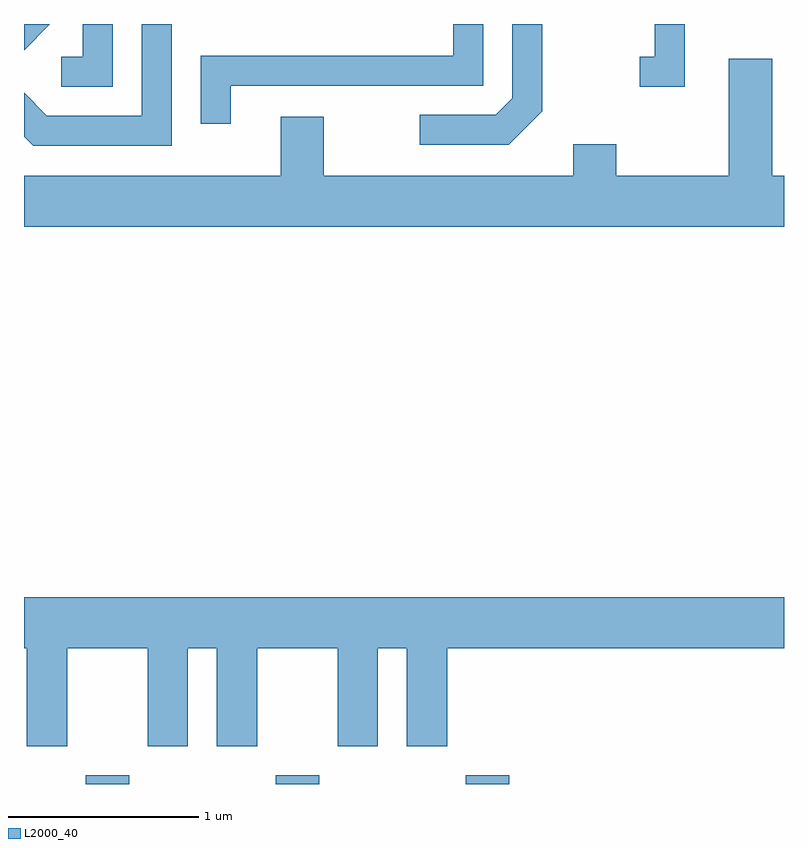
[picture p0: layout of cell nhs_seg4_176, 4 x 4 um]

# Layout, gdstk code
import gdstk
lib = gdstk.Library(unit=1e-6, precision=1e-09)
def R(c, l, rs):  # rectangles x0, y0, x1, y1
    for r in rs: c.add(gdstk.rectangle(r[:2], r[2:], *l))
def A(c, l, x, y, w, h, nx, ny, dx, dy):  # array of equal rectangles
    R(c, l, [(x+i*dx, y+j*dy, x+i*dx+w, y+j*dy+h) for i in range(nx) for j in range(ny)])
def P(c, l, *ps):  # polygons
    for p in ps: c.add(gdstk.Polygon(p, *l))
L2000_40 = (2000, 40)

nhs_seg4_176 = lib.new_cell('nhs_seg4_176')
A(nhs_seg4_176, L2000_40, 189.936, 1333.982, 0.228, 0.047, 3, 1, 1, 0)
P(nhs_seg4_176, L2000_40, [(192.339,1337.524),(192.339,1337.982),(192.181,1337.982),(192.181,1337.592),(192.094,1337.504),(191.693,1337.504),(191.693,1337.346),(192.162,1337.346)],
  [(193.089,1337.982),(192.931,1337.982),(192.931,1337.809),(192.853,1337.809),(192.853,1337.651),(193.089,1337.651)],
  [(190.389,1337.982),(190.231,1337.982),(190.231,1337.499),(189.732,1337.499),(189.611,1337.62),(189.611,1337.389),(189.659,1337.341),(190.389,1337.341)],
  [(190.699,1337.656),(192.029,1337.656),(192.029,1337.982),(191.871,1337.982),(191.871,1337.814),(190.541,1337.814),(190.541,1337.458),(190.699,1337.458)],
  [(189.747,1337.982),(189.611,1337.982),(189.611,1337.845)],
  [(190.079,1337.982),(189.921,1337.982),(189.921,1337.809),(189.808,1337.809),(189.808,1337.651),(190.079,1337.651)],
  [(193.611,1337.184),(193.549,1337.184),(193.549,1337.799),(193.321,1337.799),(193.321,1337.184),(192.729,1337.184),(192.729,1337.349),(192.501,1337.349),(192.501,1337.184),(191.189,1337.184),(191.189,1337.494),(190.961,1337.494),(190.961,1337.184),(189.611,1337.184),(189.611,1336.916),(193.611,1336.916)],
  [(189.839,1334.696),(190.261,1334.696),(190.261,1334.181),(190.474,1334.181),(190.474,1334.696),(190.626,1334.696),(190.626,1334.181),(190.839,1334.181),(190.839,1334.696),(191.261,1334.696),(191.261,1334.181),(191.474,1334.181),(191.474,1334.696),(191.626,1334.696),(191.626,1334.181),(191.839,1334.181),(191.839,1334.696),(193.611,1334.696),(193.611,1334.964),(189.611,1334.964),(189.611,1334.696),(189.626,1334.696),(189.626,1334.181),(189.839,1334.181)])

lib.write_gds('nhs_seg4_176.gds')
